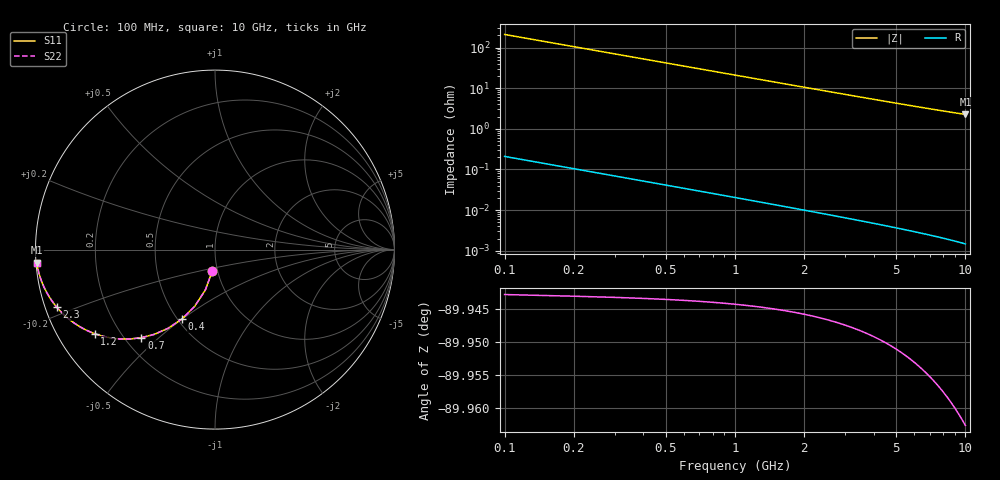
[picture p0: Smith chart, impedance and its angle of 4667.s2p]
# Hz S RI R 50.00
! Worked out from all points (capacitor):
!   100 points, 100 MHz to 10 GHz, reference 50 ohm
!   read as one part in shunt: C = 7.59 pF near 100 MHz
!   lowest |Z| = 2.26 ohm at 10 GHz (marker M1)
!   S11 on the Smith chart (normalised r, x): 100 MHz: 0.95, -0.23; 400 MHz: 0.52, -0.50; 700 MHz: 0.26, -0.44; 1.2 GHz: 0.11, -0.31; 2.3 GHz: 0.03, -0.18; 10 GHz: 0.00, -0.04
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1e8  -0.0141 -0.1174  0.9859 -0.1176  0.9859 -0.1176  -0.0141 -0.1174
2e8  -0.0539 -0.2253  0.946 -0.2256  0.946 -0.2256  -0.0539 -0.2253
3e8  -0.1135 -0.3166  0.8864 -0.317  0.8864 -0.317  -0.1135 -0.3166
4e8  -0.1854 -0.3878  0.8146 -0.3884  0.8146 -0.3884  -0.1854 -0.3878
5e8  -0.2622 -0.4389  0.7378 -0.4397  0.7378 -0.4397  -0.2622 -0.4389
6e8  -0.3384 -0.4722  0.6616 -0.4731  0.6616 -0.4731  -0.3384 -0.4722
7e8  -0.4103 -0.4909  0.5896 -0.4919  0.5896 -0.4919  -0.4103 -0.4909
9e8  -0.5348 -0.4976  0.4652 -0.499  0.4652 -0.499  -0.5348 -0.4976
1e9  -0.5866 -0.4912  0.4134 -0.4927  0.4134 -0.4927  -0.5866 -0.4912
1.2e9  -0.6713 -0.4683  0.3287 -0.4702  0.3287 -0.4702  -0.6713 -0.4683
1.3e9  -0.7055 -0.4543  0.2944 -0.4563  0.2944 -0.4563  -0.7055 -0.4543
1.5e9  -0.7612 -0.4246  0.2387 -0.427  0.2387 -0.427  -0.7612 -0.4246
1.8e9  -0.821 -0.3814  0.1789 -0.3842  0.1789 -0.3842  -0.821 -0.3814
2e9  -0.8499 -0.3551  0.15 -0.3582  0.15 -0.3582  -0.8499 -0.3551
2.3e9  -0.8821 -0.3201  0.1178 -0.3237  0.1178 -0.3237  -0.8821 -0.3201
2.8e9  -0.9173 -0.2727  0.0827 -0.2771  0.0827 -0.2771  -0.9173 -0.2727
3.4e9  -0.9423 -0.2299  0.0576 -0.2352  0.0576 -0.2352  -0.9423 -0.2299
4.2e9  -0.9614 -0.1886  0.0385 -0.1952  0.0385 -0.1952  -0.9614 -0.1886
5.1e9  -0.9735 -0.1558  0.0264 -0.1639  0.0264 -0.1639  -0.9735 -0.1558
6.7e9  -0.9845 -0.1172  0.0153 -0.1279  0.0153 -0.1279  -0.9845 -0.1172
8.4e9  -0.9902 -0.0909  0.00967 -0.1045  0.00967 -0.1045  -0.9902 -0.0909
1e10  -0.9931 -0.0734  0.0067 -0.0898  0.0067 -0.0898  -0.9931 -0.0734
